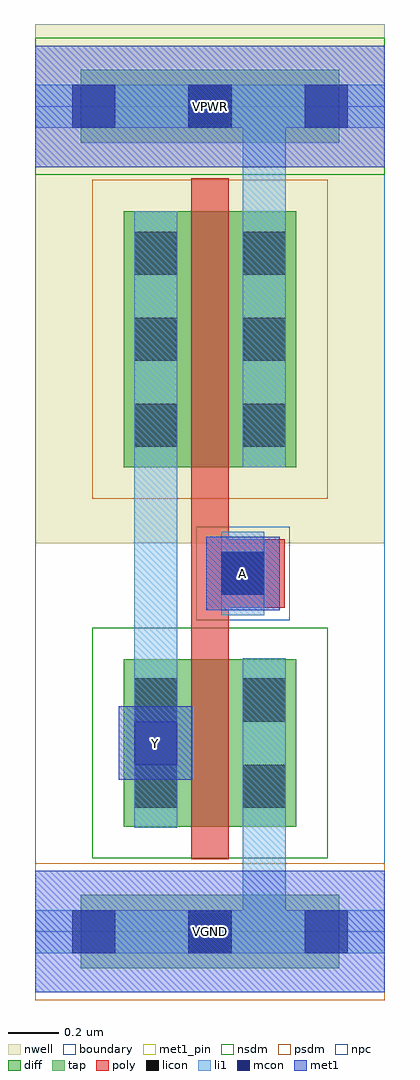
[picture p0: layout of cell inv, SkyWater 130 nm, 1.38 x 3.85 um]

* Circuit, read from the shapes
.subckt inv A VGND VPWR Y
XM1 VGND A Y VGND sky130_fd_pr__nfet_01v8 w=0.66 l=0.15
XM2 VPWR A Y VPWR sky130_fd_pr__pfet_01v8 w=1.01 l=0.15
.ends

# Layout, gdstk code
import gdstk
lib = gdstk.Library(unit=1e-6, precision=1e-09)
def R(c, l, rs):  # rectangles x0, y0, x1, y1
    for r in rs: c.add(gdstk.rectangle(r[:2], r[2:], *l))
def A(c, l, x, y, w, h, nx, ny, dx, dy):  # array of equal rectangles
    R(c, l, [(x+i*dx, y+j*dy, x+i*dx+w, y+j*dy+h) for i in range(nx) for j in range(ny)])
nwell = (64, 20)
diff = (65, 20)
tap = (65, 44)
poly = (66, 20)
licon = (66, 44)
li1 = (67, 20)
mcon = (67, 44)
met1_pin = (68, 16)
met1 = (68, 20)
nsdm = (93, 44)
psdm = (94, 20)
npc = (95, 20)
boundary = (235, 4)

inv = lib.new_cell('inv')
R(inv, nwell, [(0,1.535,1.38,3.585)])
R(inv, diff, [(0.35,0.415,1.03,1.075), (0.35,1.835,1.03,2.845)])
R(inv, tap, [(0.18,-0.145,1.2,0.145), (0.18,3.115,1.2,3.405)])
R(inv, poly, [(0.615,0.285,0.765,2.975), (0.655,1.28,0.985,1.55)])
A(inv, licon, 0.39, 1.915, 0.17, 0.17, 1, 3, 0, 0.34)
A(inv, licon, 0.82, 1.915, 0.17, 0.17, 1, 3, 0, 0.34)
R(inv, licon, [(0.605,-0.085,0.775,0.085), (0.39,0.49,0.56,0.66), (0.82,0.49,0.99,0.66), (0.39,0.83,0.56,1), (0.82,0.83,0.99,1), (0.735,1.33,0.905,1.5), (0.605,3.175,0.775,3.345)])
R(inv, li1, [(0,-0.085,1.38,0.085), (0.82,-0.085,0.99,1.08), (0.39,0.41,0.56,1.08), (0.39,0.41,0.56,2.845), (0.82,0.41,0.99,1.08), (0.735,1.25,0.905,1.58), (0.39,1.835,0.56,2.845), (0.82,1.835,0.99,2.845), (0.82,1.835,0.99,3.345), (0,3.175,1.38,3.345)])
A(inv, mcon, 0.145, -0.085, 0.17, 0.17, 3, 2, 0.46, 3.26)
R(inv, mcon, [(0.39,0.66,0.56,0.83), (0.735,1.33,0.905,1.5)])
R(inv, met1_pin, [(0,-0.24,1.38,0.24), (0.33,0.6,0.62,0.89), (0.675,1.27,0.965,1.56), (0,3.02,1.38,3.5)])
R(inv, met1, [(0,-0.24,1.38,0.24), (0.33,0.6,0.62,0.89), (0.675,1.27,0.965,1.56), (0,3.02,1.38,3.5)])
R(inv, nsdm, [(0.225,0.29,1.155,1.2), (0,2.99,1.38,3.53)])
R(inv, psdm, [(0,-0.27,1.38,0.27), (0.225,1.71,1.155,2.97)])
R(inv, npc, [(0.635,1.23,1.005,1.6)])
R(inv, boundary, [(0,0,1.38,3.26)])
inv.add(gdstk.Label('A', (0.82,1.415), layer=68, texttype=5))
inv.add(gdstk.Label('Y', (0.475,0.745), layer=68, texttype=5))
inv.add(gdstk.Label('VPWR', (0.69,3.26), layer=68, texttype=5))
inv.add(gdstk.Label('VGND', (0.69,0), layer=68, texttype=5))
inv.add(gdstk.Label('A', (0.82,1.415), layer=68, texttype=16))
inv.add(gdstk.Label('Y', (0.475,0.745), layer=68, texttype=16))
inv.add(gdstk.Label('VPWR', (0.69,3.26), layer=68, texttype=16))
inv.add(gdstk.Label('VGND', (0.69,0), layer=68, texttype=16))

lib.write_gds('inv.gds')
